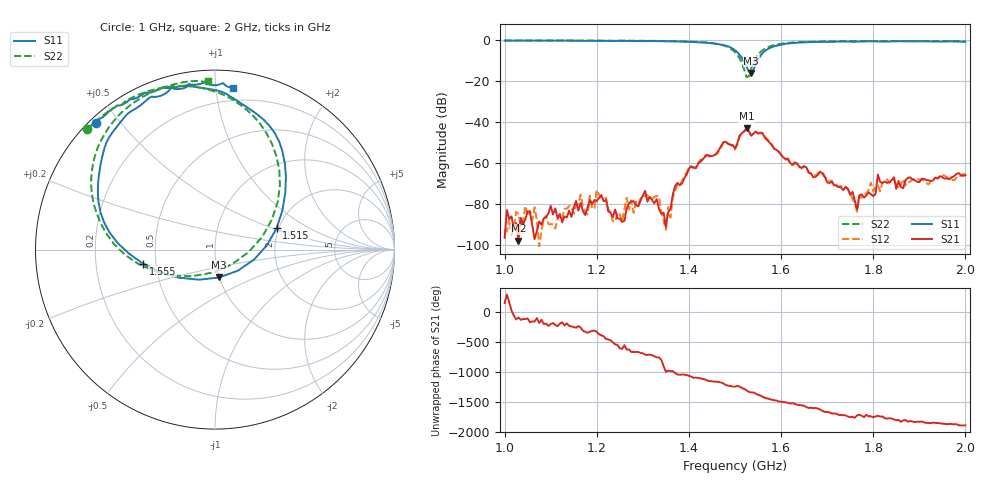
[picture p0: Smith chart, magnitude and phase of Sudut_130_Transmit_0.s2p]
# Hz S RI R 50
! CMT, C1220, 16058040, 17.2.0/1
! Date: 15/08/2018 09:02:53
! Data: Format (Calibration Info)
! Freq  S11: Re/Im (F2)  S21: Re/Im (F2)  S12: Re/Im (F2)  S22: Re/Im (F2)
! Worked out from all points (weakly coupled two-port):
!   201 points, 1 GHz to 2 GHz, reference 50 ohm
!   highest |S21| = -43.14 dB at 1.525 GHz (marker M1); lowest = -98.1 dB at 1.03 GHz (marker M2)
!   lowest |S11| = -16.1 dB at 1.535 GHz (marker M3), VSWR 1.37, Z = 49.8 - j15.8 ohm
!   |S11| at or under -10 dB: 1.518 GHz to 1.549 GHz (31 MHz wide, 2.02 % of centre)
!   |S22| runs from -18.1 to -0.2 dB; largest |S21 - S12| = 0.0003
!   S11 on the Smith chart (normalised r, x): 1 GHz: 0.02, +0.43; 1.515 GHz: 1.95, +0.54; 1.555 GHz: 0.42, -0.08; 2 GHz: 0.11, +1.11
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1e9  -0.6632 0.7056  -1.25e-05 7.86e-06  -6.36e-06 2.29e-05  -0.7113 0.6709
1.03e9  -0.6536 0.7233  -8.36e-07 -1.24e-05  3.31e-05 -4.56e-05  -0.6885 0.6935
1.17e9  -0.5001 0.8161  4.74e-05 4.59e-05  1.88e-05 7.98e-05  -0.5597 0.7929
1.195e9  -0.4692 0.8412  8.29e-05 9.25e-05  7.62e-05 1.86e-05  -0.5279 0.8055
1.2e9  -0.4688 0.8403  0.000104 5.38e-05  0.00019 0.000105  -0.5228 0.8053
1.225e9  -0.4399 0.8441  -1.11e-05 -6.34e-05  -2.06e-05 -6.89e-05  -0.5039 0.8229
1.305e9  -0.2924 0.9008  0.000205 2.33e-05  0.000147 4.67e-05  -0.3863 0.8784
1.335e9  -0.266 0.8999  5.6e-05 -4.94e-05  9.1e-05 -0.000116  -0.3276 0.8949
1.36e9  -0.1767 0.9126  -6.66e-07 7.35e-05  1.92e-06 4.6e-05  -0.2706 0.9054
1.4e9  -0.0794 0.9013  0.0007 0.000173  0.000758 0.000149  -0.1503 0.9103
1.475e9  0.3039 0.689  -0.00148 -0.00286  -0.00133 -0.00281  0.2543 0.6973
1.5e9  0.3954 0.4052  -0.00219 -0.000457  -0.00206 -0.000417  0.3615 0.3571
1.515e9  0.3436 0.1199  -0.00522 0.000928  -0.00525 0.000757  0.2635 0.0718
1.525e9  0.2167 -0.0563  -0.00454 0.00529  -0.00466 0.00528  0.0915 -0.0837
1.535e9  0.0224 -0.1551  -0.000464 0.00457  -0.000538 0.00463  -0.1304 -0.1489
1.555e9  -0.4011 -0.0781  0.00382 0.00369  0.00378 0.00393  -0.5055 -0.0255
1.67e9  -0.4917 0.7516  -0.00043 -9.23e-05  -0.000502 -0.000125  -0.5525 0.7297
1.765e9  -0.2843 0.8651  2.25e-05 6.83e-05  1.74e-05 6.13e-05  -0.383 0.8614
1.805e9  -0.2325 0.8976  0.000102 0.000141  0.000147 0.000216  -0.3186 0.891
1.81e9  -0.2229 0.895  0.000225 0.000467  0.000181 0.000216  -0.3109 0.8942
1.835e9  -0.1563 0.9079  0.000306 0.000134  0.000304 0.000114  -0.2754 0.9069
2e9  0.1012 0.9021  -5.25e-05 -0.000494  -5.38e-05 -0.000522  -0.0404 0.9412
